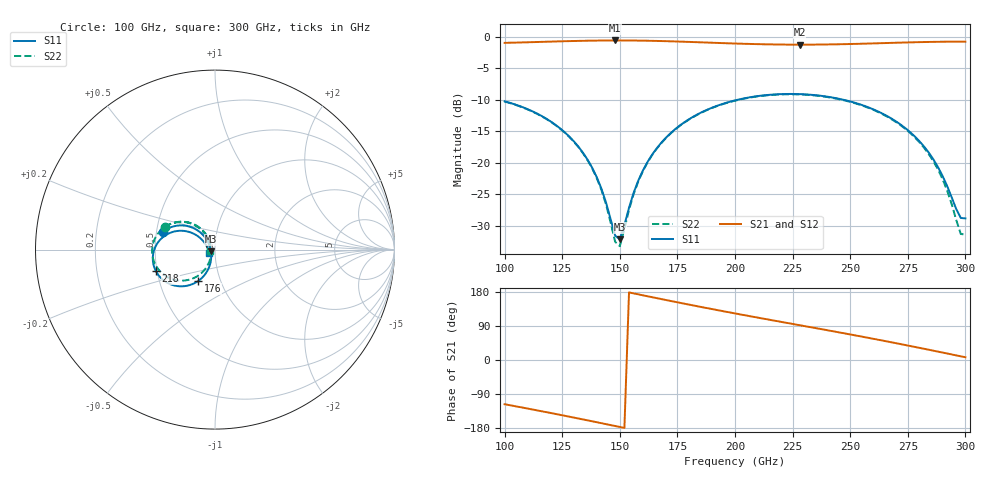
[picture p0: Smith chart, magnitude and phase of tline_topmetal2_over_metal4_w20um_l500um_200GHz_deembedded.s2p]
! Created with skrf 2.0.1 (http://scikit-rf.org).
# GHz S DB R 50.0
!freq dBS11 angS11 dBS21 angS21 dBS12 angS12 dBS22 angS22
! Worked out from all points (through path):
!   101 points, 100 GHz to 300 GHz, reference 50 ohm
!   highest |S21| = -0.54 dB at 148 GHz (marker M1); lowest = -1.2 dB at 228 GHz (marker M2)
!   group delay of S21, straight-line fit = 3.25 ps
!   lowest |S11| = -32.2 dB at 150 GHz (marker M3), VSWR 1.05, Z = 47.8 - j0.875 ohm
!   |S11| at or under -10 dB: start of sweep to 200.9 GHz; 247.3 GHz to end of sweep
!   |S22| runs from -33.3 to -9.1 dB; largest |S21 - S12| = 1.1e-14
!   S11 on the Smith chart (normalised r, x): 100 GHz: 0.54, +0.12; 176 GHz: 0.78, -0.28; 218 GHz: 0.49, -0.14; 300 GHz: 0.94, -0.03
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100  -10.23 161.4  -0.92 -116.8  -0.92 -116.8  -10.26 155.9
120  -13.43 141.3  -0.72 -139.9  -0.72 -139.9  -13.48 134.4
134  -18.40 130.1  -0.60 -156.8  -0.60 -156.8  -18.48 121.9
142  -24.11 131.8  -0.55 -166.7  -0.55 -166.7  -24.31 122.0
148  -31.61 168.3  -0.54 -174.2  -0.54 -174.2  -32.60 158.0
150  -32.17 -158.2  -0.54 -176.7  -0.54 -176.7  -33.28 -164.1
154  -27.15 -118.5  -0.55 178.3  -0.55 178.3  -27.49 -123.1
158  -22.86 -109.6  -0.56 173.3  -0.56 173.3  -23.00 -115.5
162  -19.90 -108.5  -0.58 168.3  -0.58 168.3  -19.98 -115.3
168  -16.82 -111.4  -0.63 160.8  -0.63 160.8  -16.88 -119.0
176  -14.09 -118.1  -0.72 151.0  -0.72 151.0  -14.14 -126.5
200  -10.08 -141.8  -1.03 122.9  -1.03 122.9  -10.12 -152.0
218  -9.11 -159.8  -1.18 102.9  -1.18 102.9  -9.16 -171.1
228  -9.08 -169.6  -1.20 91.9  -1.20 91.9  -9.13 178.3
234  -9.22 -175.5  -1.20 85.3  -1.20 85.3  -9.27 172.0
252  -10.45 167.0  -1.09 65.2  -1.09 65.2  -10.52 153.1
268  -12.99 152.1  -0.92 46.6  -0.92 46.6  -13.08 136.5
278  -15.80 144.4  -0.82 34.6  -0.82 34.6  -15.95 127.3
286  -19.41 142.0  -0.76 24.7  -0.76 24.7  -19.70 122.7
292  -23.64 148.2  -0.74 17.3  -0.74 17.3  -24.34 126.1
298  -28.78 -175.0  -0.73 9.7  -0.73 9.7  -31.34 165.8
300  -28.87 -152.3  -0.73 7.2  -0.73 7.2  -31.42 -163.0
